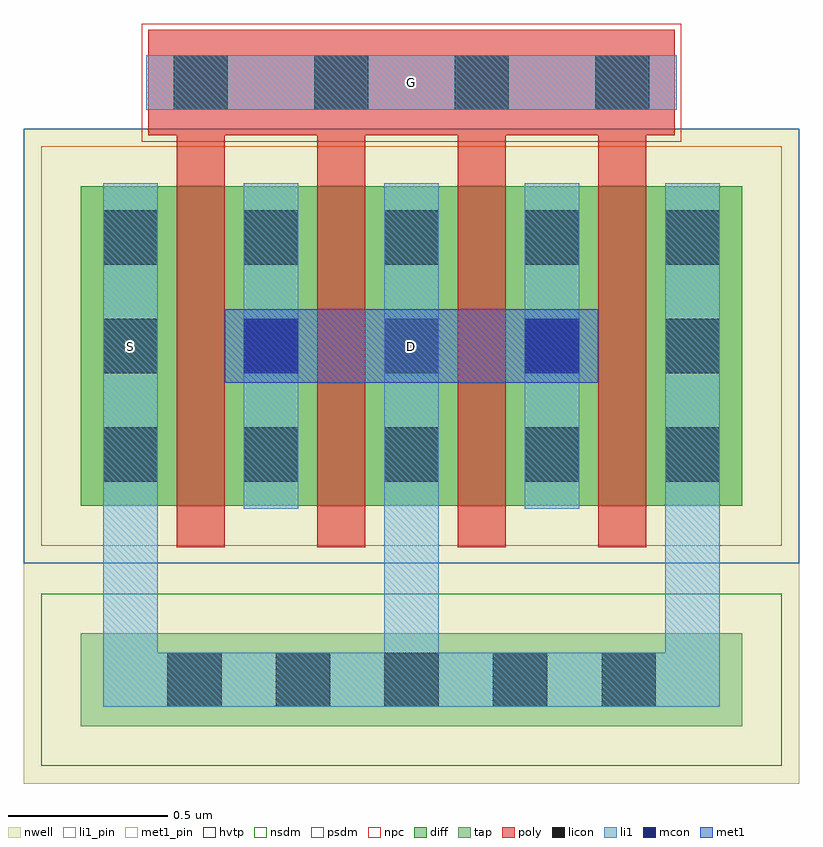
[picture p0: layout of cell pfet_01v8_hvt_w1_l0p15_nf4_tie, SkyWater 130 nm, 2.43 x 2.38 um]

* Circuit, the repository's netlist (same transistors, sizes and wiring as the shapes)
.SUBCKT pfet_01v8_hvt_w1_l0p15_nf4_tie D G S
M0 D G S S pfet_01v8_hvt w=1 l=0.15
M1 D G S S pfet_01v8_hvt w=1 l=0.15
M2 D G S S pfet_01v8_hvt w=1 l=0.15
M3 D G S S pfet_01v8_hvt w=1 l=0.15
.ENDS

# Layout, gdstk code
import gdstk
lib = gdstk.Library(unit=1e-6, precision=1e-09)
def R(c, l, rs):  # rectangles x0, y0, x1, y1
    for r in rs: c.add(gdstk.rectangle(r[:2], r[2:], *l))
def A(c, l, x, y, w, h, nx, ny, dx, dy):  # array of equal rectangles
    R(c, l, [(x+i*dx, y+j*dy, x+i*dx+w, y+j*dy+h) for i in range(nx) for j in range(ny)])
nwell = (64, 20)
diff = (65, 20)
tap = (65, 44)
poly = (66, 20)
licon = (66, 44)
li1_pin = (67, 16)
li1 = (67, 20)
mcon = (67, 44)
met1_pin = (68, 16)
met1 = (68, 20)
hvtp = (78, 44)
nsdm = (93, 44)
psdm = (94, 20)
npc = (95, 20)

pfet_01v8_hvt_w1_l0p15_n = lib.new_cell('pfet_01v8_hvt_w1_l0p15_nf4_tie')
R(pfet_01v8_hvt_w1_l0p15_n, nwell, [(-0.18,-0.87,2.25,1.18)])
R(pfet_01v8_hvt_w1_l0p15_n, diff, [(0,0,2.07,1)])
R(pfet_01v8_hvt_w1_l0p15_n, tap, [(0,-0.69,2.07,-0.4)])
A(pfet_01v8_hvt_w1_l0p15_n, poly, 0.3, -0.13, 0.15, 1.29, 4, 1, 0.44, 0)
R(pfet_01v8_hvt_w1_l0p15_n, poly, [(0.21,1.16,1.86,1.49)])
A(pfet_01v8_hvt_w1_l0p15_n, licon, 0.27, -0.63, 0.17, 0.17, 5, 1, 0.34, 0)
A(pfet_01v8_hvt_w1_l0p15_n, licon, 0.07, 0.075, 0.17, 0.17, 5, 3, 0.44, 0.34)
A(pfet_01v8_hvt_w1_l0p15_n, licon, 0.29, 1.24, 0.17, 0.17, 4, 1, 0.44, 0)
R(pfet_01v8_hvt_w1_l0p15_n, li1_pin, [(0.15,0.495,0.16,0.505), (1.03,1.32,1.04,1.33)])
A(pfet_01v8_hvt_w1_l0p15_n, li1, 0.07, -0.63, 0.17, 1.64, 3, 1, 0.88, 0)
R(pfet_01v8_hvt_w1_l0p15_n, li1, [(0.07,-0.63,2,-0.46), (0.51,-0.01,0.68,1.01), (1.39,-0.01,1.56,1.01), (0.205,1.24,1.865,1.41)])
R(pfet_01v8_hvt_w1_l0p15_n, mcon, [(0.51,0.415,0.68,0.585), (1.39,0.415,1.56,0.585)])
R(pfet_01v8_hvt_w1_l0p15_n, met1_pin, [(1.03,0.495,1.04,0.505)])
R(pfet_01v8_hvt_w1_l0p15_n, met1, [(0.45,0.385,1.62,0.615)])
R(pfet_01v8_hvt_w1_l0p15_n, hvtp, [(-0.18,-0.18,2.25,1.18)])
R(pfet_01v8_hvt_w1_l0p15_n, nsdm, [(-0.125,-0.815,2.195,-0.275)])
R(pfet_01v8_hvt_w1_l0p15_n, psdm, [(-0.125,-0.125,2.195,1.125)])
R(pfet_01v8_hvt_w1_l0p15_n, npc, [(0.19,1.14,1.88,1.51)])
pfet_01v8_hvt_w1_l0p15_n.add(gdstk.Label('G', (1.035,1.325), layer=67, texttype=5))
pfet_01v8_hvt_w1_l0p15_n.add(gdstk.Label('S', (0.155,0.5), layer=67, texttype=5))
pfet_01v8_hvt_w1_l0p15_n.add(gdstk.Label('D', (1.035,0.5), layer=68, texttype=5))

lib.write_gds('pfet_01v8_hvt_w1_l0p15_nf4_tie.gds')
